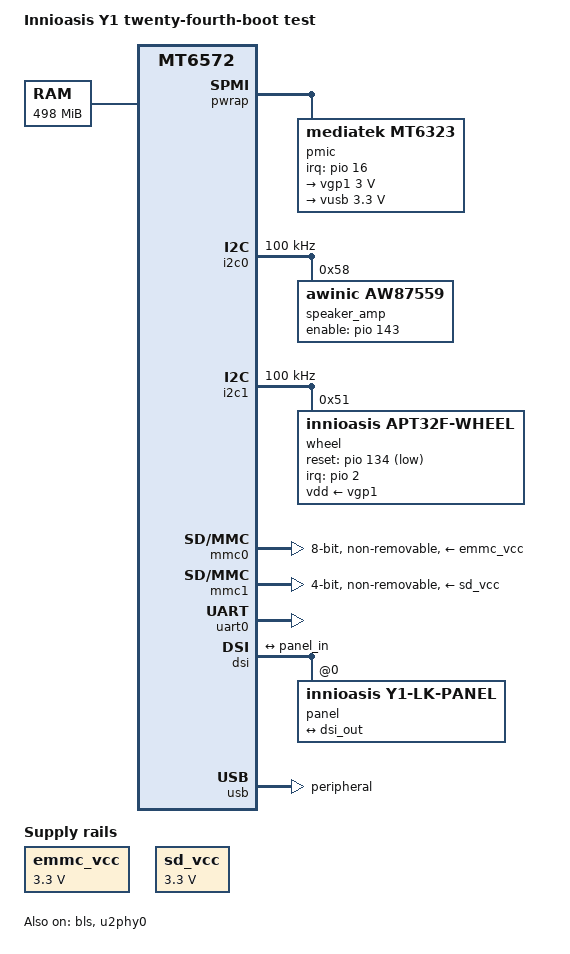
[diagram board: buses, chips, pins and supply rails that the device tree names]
// SPDX-License-Identifier: GPL-2.0-only
/*
 * Innioasis Y1 (MT6572) twenty-fourth-boot device tree (docs/planning/Y1-MTP-PLAN.md, M1 retried): the
 * twenty-third-boot tree unchanged.
 *
 * Twenty-third-boot description (docs/planning/Y1-CHARGE-MODE-PLAN.md, C1): the
 * twenty-first-boot tree unchanged (the charge-only mode is PID1).
 *
 * Twenty-first-boot description (docs/planning/Y1-DATA-PLAN.md, stage B2): the
 * twentieth-boot tree with the eMMC write guard's window, USRDATA (Y2DATA) only.
 *
 * Twentieth-boot description (docs/planning/Y1-POWER-PLAN.md, D2): the nineteenth-boot
 * tree unchanged (the power daemon is userspace).
 *
 * Nineteenth-boot description (docs/planning/Y1-REBORN-PLAN.md, stage R3): the
 * eighteenth-boot tree with the sound card named as Reborn expects: card "Y2Audio", its headphone pin
 * "Headphone" (pin switch "Headphone Switch").
 *
 * Eighteenth-boot description (docs/planning/Y1-REBORN-PLAN.md, stage R2): the
 * seventeenth-boot tree with the keys Reborn understands: the wheel's zones on their own input device
 * "Y2 navigation buttons" (play/pause, next, back, previous as KEY_PLAYPAUSE, KEY_RIGHT, KEY_BACK, KEY_LEFT)
 * and the centre button's device under the same name, so it is Select.
 *
 * Seventeenth-boot description (docs/planning/Y1-REBORN-PLAN.md, stage R1b): the
 * sixteenth-boot tree plus the GPU: the SPM power controller with only the MFG domain (the display domain
 * stays as LK left it), the GPU clocked from WHPLL at 500.5 MHz as stock, no OPP table, no MFG reset.
 *
 * Sixteenth-boot description (docs/planning/Y1-REBORN-PLAN.md, stage R1a): the
 * fifteenth-boot tree unchanged (CONFIG_PM is kernel config).
 *
 * Fifteenth-boot description (docs/planning/Y1-POWER-PLAN.md, stage D1): the
 * fourteenth-boot tree plus the MT6323 power controller (power-off through the RTC BBPU).
 *
 * Fourteenth-boot description (docs/planning/Y1-AUDIO-PLAN.md, stage C): the
 * thirteenth-boot tree plus the AW87559 speaker amplifier on I2C0, fed from the MT6323's HPOUT, with
 * switches for the headphones and the speaker.
 *
 * Thirteenth-boot description (docs/planning/Y1-AUDIO-PLAN.md, stage B): the
 * twelfth-boot tree plus headphone playback: the MT6572 AFE (DL1 -> ADDA), the MT6323 codec, a simple card.
 *
 * Twelfth-boot description (docs/planning/Y1-SMP-PLAN.md): the eleventh-boot tree
 * unchanged apart from the model; both CPUs and their enable-method come from mt6572-fork.dtsi.
 *
 * Eleventh-boot description (docs/planning/Y1-NETWORK-PLAN.md): the tenth-boot tree
 * unchanged apart from the model; the network gadget is kernel config.
 *
 * Tenth-boot description (docs/planning/Y1-SYSTEM-PLAN.md): the ninth-boot tree
 * unchanged apart from the model; the hand-over to the Y2's init is in PID1.
 *
 * Ninth-boot description (docs/planning/Y1-ROOTFS-PLAN.md): the eighth-boot tree
 * unchanged apart from the model; the root filesystem is mounted by PID1.
 *
 * Eighth-boot description (docs/planning/Y1-BACKLIGHT-PLAN.md): the seventh-boot
 * tree plus the backlight on MT6323 ISINK0/1 (the shared Y2 driver, never above LK's duty).
 *
 * Seventh-boot description (docs/planning/Y1-DISPLAY-PLAN.md, stage B): the
 * sixth-boot tree with the MediaTek DRM pipeline instead of LK's simple-framebuffer: OVL -> RDMA ->
 * COLOR -> BLS -> DSI with LK's panel adopted as initialised (no reset, no command, backlight untouched),
 * physical scan-out (no IOMMU).
 *
 * Sixth-boot description: the fifth-boot tree unchanged apart from the model; the register dump is in PID1.
 *
 * Fifth-boot description (docs/planning/Y1-CHARGING-PLAN.md, stage B): the
 * fourth-boot tree plus the MT6323 charger (the Y2's driver, PC port only, at most 450 mA, 4.175 V),
 * the Y1 USB budget source it charges from, and the PMIC wrapper's charger-block write policy.
 *
 * Third-boot description (docs/planning/Y1-THIRD-BOOT-PLAN.md): the second-boot
 * tree (clocks, pins, PMIC wrapper, read-only eMMC and microSD, wheel, centre button) plus USB in device
 * mode and the MT6323 AUXADC for read-only battery telemetry. Facts: docs/knowledge/y1-hardware.md.
 * Deliberately absent: power domains, display, audio, charger, USB host mode, every PMIC regulator but
 * VGP1 and VUSB (the two card supplies are fixed descriptions, not PMIC regulators).
 */
/dts-v1/;
#include <dt-bindings/gpio/gpio.h>
#include <dt-bindings/input/input.h>
#include "mt6572-fork.dtsi"

/ {
	model = "Innioasis Y1 twenty-fourth-boot test";
	compatible = "innioasis,y1", "mediatek,mt6572";

	aliases {
		serial0 = &uart0;
	};

	chosen {
		#address-cells = <1>;
		#size-cells = <1>;
		ranges;
		/* clk_ignore_unused: the clock driver must not gate the display clocks LK left running. */
		bootargs = "rdinit=/init earlycon console=ttyS0,921600n8 console=tty0 loglevel=8 ignore_loglevel panic=10 clk_ignore_unused";
		stdout-path = "serial0:921600n8";
	};

	/* As the first boot (confirmed there): stock System RAM; the 10 MiB at 0x9e000000 and the
	 * frame buffer stay out. */
	memory@80000000 {
		device_type = "memory";
		reg = <0x80000000 0x1e000000>, <0x9ea00000 0x01200000>;
	};

	/*
	 * Not PMIC regulators: fixed descriptions of the card rails LK leaves on (stock: VEMC_3V3 at 3.3 V),
	 * so mtk-sd knows their voltage. Without a vmmc supply it accepts no card voltage at all (second
	 * boot run 1: "no support for card's volts"). Linux switches nothing here.
	 */
	emmc_vcc: regulator-emmc-vcc {
		compatible = "regulator-fixed";
		regulator-name = "emmc-vcc";
		regulator-min-microvolt = <3300000>;
		regulator-max-microvolt = <3300000>;
		regulator-always-on;
	};

	/* Stock AudDrv: AFE at 0x11140000, IRQ 96 = SPI 64 level low, clock MT_CG_AUDIO_SW_CG. */
	afe: audio-controller@11140000 {
		compatible = "innioasis,y1-mt6572-afe";
		reg = <0x11140000 0x1000>;
		interrupts = <GIC_SPI 64 IRQ_TYPE_LEVEL_LOW>;
		clocks = <&topckgen CLK_TOP_AUDIO>;
		clock-names = "audio";
		#sound-dai-cells = <0>;
	};

	sound {
		compatible = "simple-audio-card";
		simple-audio-card,name = "Y2Audio";
		simple-audio-card,widgets = "Headphone", "Headphone", "Speaker", "Speaker";
		/* Stock: the AW87559 is fed from the MT6323's headphone outputs. */
		simple-audio-card,routing = "Headphone", "HPOUT", "PA IN", "HPOUT", "Speaker", "PA OUT";
		simple-audio-card,pin-switches = "Headphone", "Speaker";
		simple-audio-card,aux-devs = <&speaker_amp>;

		simple-audio-card,cpu {
			sound-dai = <&afe>;
		};

		simple-audio-card,codec {
			sound-dai = <&mt6323_codec>;
		};
	};

	/* The configured USB budget, reported by the gadget (kernel/y1/usb-source.c). */
	usb_input: usb-input {
		compatible = "innioasis,y1-usb-input";
	};

	sd_vcc: regulator-sd-vcc {
		compatible = "regulator-fixed";
		regulator-name = "sd-vcc";
		regulator-min-microvolt = <3300000>;
		regulator-max-microvolt = <3300000>;
		regulator-always-on;
	};
};

&pio {
	/* Stock 3.0.2 tpd_probe: GPIO136 mode 4 (EINT2), direction input, pull enabled and up. On paris
	 * input-enable sets only the input buffer; input-schmitt-enable is what sets the direction to input
	 * (run 3: "tried to flag a GPIO set as output for IRQ"). */
	wheel_pins: wheel-pins {
		pins-irq {
			pinmux = <MT6572_PIN_136_BPI_BUS6__FUNC_EINT2>;
			input-enable;
			input-schmitt-enable;
			bias-pull-up;
		};
	};
};

&pwrap {
	/* Charger block writes only within the Y2's reviewed fields and values (policy.h). */
	innioasis,pmic-charger-policy;

	/* Not upstream mt6323.dtsi: that describes every regulator, and Linux may switch off any described,
	 * unused one. Only the power key and VGP1 exist here; the others stay as LK left them. */
	pmic: pmic {
		compatible = "mediatek,mt6323";
		/* Stock PMIC_EINT_SETTING: EINT16, level, active high. */
		interrupt-parent = <&pio>;
		interrupts = <16 IRQ_TYPE_LEVEL_HIGH>;
		interrupt-controller;
		#interrupt-cells = <2>;

		/* Read-only telemetry; the Y1 adds the charger input (VCDT, channel 4). */
		pmic_adc: adc {
			compatible = "mediatek,mt6323-auxadc";
			#io-channel-cells = <1>;
			innioasis,charger-input;
		};

		/*
		 * The Y2's charger with Y1 limits: no BC1.1 (every source is a PC port; 450 mA only once a
		 * PC has configured the gadget, 70 mA otherwise); 4.175 V; PMIC die derating; the PMIC
		 * charger watchdog. No pack temperature (BATON does not respond, charging plan section 9) and no
		 * power-off-to-charger path (no innioasis,rgu: LK's charging mode is unverified on the Y1).
		 */
		charger {
			compatible = "innioasis,y2-mt6323-charger";
			io-channels = <&pmic_adc 7>, <&pmic_adc 5>, <&pmic_adc 6>, <&pmic_adc 3>;
			io-channel-names = "battery-voltage", "baton", "isense", "pmic-temperature";
			power-supplies = <&usb_input>;
			innioasis,usb-budget-source;
			innioasis,max-charge-current-microamp = <450000>;
		};

		/* The MT6323's audio codec, headphone path (the AW87559 speaker path is stage C). */
		mt6323_codec: codec {
			compatible = "innioasis,y1-mt6323-codec";
			#sound-dai-cells = <0>;
		};

		/* Stock lcd-backlight: MT6323 PMIC mode, ISINK0 and ISINK1 in parallel (display stage 0). */
		backlight {
			compatible = "innioasis,y2-backlight";
			innioasis,isink-mask = <0x3>;
		};

		/* Power-off only: BBPU 0x4300 and WRTGR 1 at power-off (no RTC driver). */
		power-controller {
			compatible = "mediatek,mt6323-pwrc";
		};

		keys {
			compatible = "mediatek,mt6323-keys";
			label = "Y2 navigation buttons";
			/* The centre button (the Y1 has no power button). */
			power {
				linux,keycodes = <KEY_ENTER>;
			};
		};

		regulators {
			compatible = "mediatek,mt6323-regulator";

			/* The wheel controller's supply; stock hwPowerOn(5, 3000, "TP"). */
			vgp1: ldo_vgp1 {
				regulator-name = "vgp1";
				regulator-min-microvolt = <3000000>;
				regulator-max-microvolt = <3000000>;
			};

			/* The USB PHY's analogue supply; stock hwPowerOn(1, 3300, "VUSB_LDO") at USB init and
			 * never switched off. */
			vusb: ldo_vusb {
				regulator-name = "vusb";
				regulator-min-microvolt = <3300000>;
				regulator-max-microvolt = <3300000>;
				regulator-always-on;
			};
		};
	};
};

/* The speaker amplifier only (stock: 0-0058 aw87559_pa). */
&i2c0 {
	status = "okay";
	clock-frequency = <100000>;

	/* Stock aw87559_i2c_probe: GPIO143 enables it; low, the default, it is off and does not answer. */
	speaker_amp: amplifier@58 {
		compatible = "awinic,aw87559";
		reg = <0x58>;
		enable-gpios = <&pio 143 GPIO_ACTIVE_HIGH>;
		sound-name-prefix = "PA";
	};
};

&i2c1 {
	status = "okay";
	clock-frequency = <100000>;

	wheel@51 {
		compatible = "innioasis,apt32f-wheel";
		reg = <0x51>;
		pinctrl-names = "default";
		pinctrl-0 = <&wheel_pins>;
		interrupt-parent = <&pio>;
		interrupts = <2 IRQ_TYPE_EDGE_FALLING>;
		reset-gpios = <&pio 134 GPIO_ACTIVE_LOW>;
		vdd-supply = <&vgp1>;
		/* reg3 bits 0-3: bottom, right, top, left (owner's getevent of stock 3.0.2). */
		linux,keycodes = <KEY_PLAYPAUSE KEY_RIGHT KEY_BACK KEY_LEFT>;
		/* Reborn takes select, back, left/right and play/pause only from this device name. */
		innioasis,zone-input-name = "Y2 navigation buttons";
	};
};

/*
 * Storage, read by the test PID1 only: no filesystem driver is built, PID1 sets each disk read-only
 * before reading. Conservative bus modes, no supplies (LK leaves them on), and empty pin states that
 * keep the preloader's pin setup (mtk-sd requires both states to exist).
 */
&mmc0 {
	status = "okay";
	/* The eMMC write guard (kernel/y1/emmc-guard.h): writes only to USRDATA, physical 0x4cf40000 (sector
	 * 0x267a00), 2 GiB (0x400000 sectors). PID1 makes the eMMC writable only when this window is present. */
	innioasis,emmc-write-window = <0x267a00 0x400000>;
	vmmc-supply = <&emmc_vcc>;
	pinctrl-names = "default", "state_uhs";
	pinctrl-0;
	pinctrl-1;
	bus-width = <8>;
	max-frequency = <50000000>;
	cap-mmc-highspeed;
	non-removable;
	no-sd;
	no-sdio;
};

&mmc1 {
	status = "okay";
	vmmc-supply = <&sd_vcc>;
	pinctrl-names = "default", "state_uhs";
	pinctrl-0;
	pinctrl-1;
	bus-width = <4>;
	max-frequency = <50000000>;
	cap-sd-highspeed;
	/* Card-detect pin unknown: probe once at boot (broken-cd polled every second and flooded the
	 * screen in run 1). A card must be inserted before power-on. */
	non-removable;
	no-1-8-v;
	no-mmc;
	no-sdio;
};

&uart0 {
	status = "okay";
};

/* Display stage B: physical scan-out, as LK; no IOMMU driver is built. */
&ovl {
	/delete-property/ iommus;
};

&rdma0 {
	/delete-property/ iommus;
};

/* In the path as a pass-through; its PWM driver is not built and the backlight comes from the MT6323. */
&bls {
	status = "okay";
};

&dsi {
	status = "okay";
	#address-cells = <1>;
	#size-cells = <0>;

	/* 6.18's mtk_dsi_host_attach finds its panel only through an OF graph (seventh boot run 1:
	 * "error -19: DSI attach" with a bare child node). */
	port {
		dsi_out: endpoint {
			remote-endpoint = <&panel_in>;
		};
	};

	panel@0 {
		compatible = "innioasis,y1-lk-panel";
		reg = <0>;

		port {
			panel_in: endpoint {
				remote-endpoint = <&dsi_out>;
			};
		};
	};
};

/* Device mode only: no host mode, no role switch, nothing drives VBUS. PIO only (no DMA) by config. */
&usb {
	status = "okay";
	dr_mode = "peripheral";
};

&u2phy0 {
	status = "okay";
};

/*
 * Mainline's v1 T-PHY calibrates the slew rate with a frequency meter at sif + 0x100 (0x11110100); the
 * MT6572's meter is at 0x11110f00 (stock hs_slew_rate_cal). A fixed eye-src skips that calibration; 4
 * is what stock writes when its own calibration times out.
 */
&u2port0 {
	mediatek,eye-src = <4>;
	/* Third boot run 1: with only mainline's RG_VBUSVALID/RG_AVALID the controller stayed "not
	 * attached" while the PMIC measured 5.2 V on VCDT. Stock usb_phy_recover forces the whole session
	 * (U2PHYDTM1 |= 0x2e, SESSEND clear, force bits 9-13); patches-y1 0015 does the same on this flag. */
	innioasis,force-session-valid;
};

/* The display domain is LK's: Linux would power an unclaimed domain off at late init (dark screen). */
&spm {
	power-domain@MT6572_POWER_DOMAIN_DIS {
		status = "disabled";
	};
};

/*
 * Stock 3.0.2 runs this chip's GPU (eFuse 0x10009178 bit 27 = 0) from WHPLL at 500.5 MHz: mfg_mux_sel on
 * mfg_pre_500m, mfg_sel on the mux. WHPLL keeps LK's divider (500.5 MHz); no rate is set. Stock never uses the
 * MFG reset, and without an OPP table Lima's devfreq stays off.
 */
&gpu {
	/delete-property/ resets;
	assigned-clocks = <&topckgen CLK_TOP_MFG_MUX_SEL>, <&topckgen CLK_TOP_MFG_SEL>;
	assigned-clock-parents = <&topckgen CLK_TOP_MFG_PRE_500M>, <&topckgen CLK_TOP_MFG_MUX_SEL>;
};
